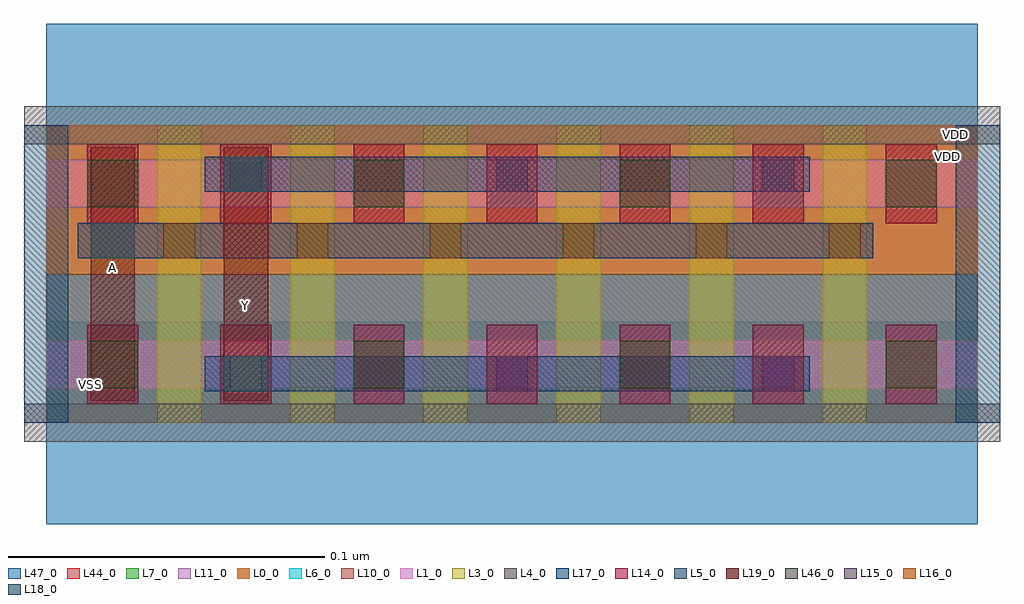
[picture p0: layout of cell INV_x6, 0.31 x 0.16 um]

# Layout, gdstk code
import gdstk
lib = gdstk.Library(unit=1e-6, precision=5e-10)
def R(c, l, rs):  # rectangles x0, y0, x1, y1
    for r in rs: c.add(gdstk.rectangle(r[:2], r[2:], *l))
def A(c, l, x, y, w, h, nx, ny, dx, dy):  # array of equal rectangles
    R(c, l, [(x+i*dx, y+j*dy, x+i*dx+w, y+j*dy+h) for i in range(nx) for j in range(ny)])
L0_0 = (0, 0)
L1_0 = (1, 0)
L3_0 = (3, 0)
L4_0 = (4, 0)
L5_0 = (5, 0)
L6_0 = (6, 0)
L7_0 = (7, 0)
L10_0 = (10, 0)
L11_0 = (11, 0)
L14_0 = (14, 0)
L15_0 = (15, 0)
L16_0 = (16, 0)
L17_0 = (17, 0)
L18_0 = (18, 0)
L19_0 = (19, 0)
L44_0 = (44, 0)
L46_0 = (46, 0)
L47_0 = (47, 0)

inv_x6 = lib.new_cell('INV_x6')
R(inv_x6, L0_0, [(0,0.047,0.294,0.094)])
R(inv_x6, L1_0, [(0,0.011,0.294,0.026), (0,0.068,0.294,0.083)])
A(inv_x6, L3_0, 0.035, 0, 0.014, 0.094, 6, 1, 0.042, 0)
R(inv_x6, L4_0, [(-0.007,-0.006,0.301,0.006), (-0.007,0.088,0.301,0.1)])
R(inv_x6, L5_0, [(-0.007,0,0.007,0.094), (0.287,0,0.301,0.094)])
R(inv_x6, L6_0, [(0,0,0.294,0.047)])
R(inv_x6, L7_0, [(0,0.047,0.294,0.094)])
R(inv_x6, L10_0, [(0,0,0.294,0.047)])
R(inv_x6, L11_0, [(0,0.047,0.294,0.094)])
A(inv_x6, L14_0, 0.013, 0.006, 0.016, 0.025, 7, 2, 0.042, 0.057)
A(inv_x6, L15_0, 0.058, 0.01, 0.01, 0.011, 3, 2, 0.084, 0.063)
A(inv_x6, L16_0, 0.037, 0.052, 0.01, 0.011, 6, 1, 0.042, 0)
R(inv_x6, L17_0, [(0.05,0.01,0.241,0.021), (0.01,0.052,0.261,0.063), (0.05,0.073,0.241,0.084)])
R(inv_x6, L18_0, [(0.056,0.01,0.07,0.021), (0.014,0.052,0.028,0.063), (0.056,0.073,0.07,0.084)])
R(inv_x6, L19_0, [(0.014,0.007,0.028,0.087), (0.056,0.007,0.07,0.087)])
R(inv_x6, L44_0, [(0,0,0.294,0.094)])
A(inv_x6, L46_0, 0.013, 0.011, 0.016, 0.015, 4, 2, 0.084, 0.057)
R(inv_x6, L47_0, [(0,-0.032,0.294,0.032), (0,0.062,0.294,0.126)])
inv_x6.add(gdstk.Label('VSS', (0.014,0.012), layer=47, texttype=2))
inv_x6.add(gdstk.Label('VDD', (0.2845,0.084), layer=47, texttype=2))
inv_x6.add(gdstk.Label('VDD', (0.287,0.091), layer=0, texttype=2))
inv_x6.add(gdstk.Label('Y', (0.063,0.037), layer=19, texttype=2))
inv_x6.add(gdstk.Label('A', (0.021,0.049), layer=19, texttype=2))
inv_x6.add(gdstk.Label('VSS', (0.011,0.008), layer=54, texttype=2))

lib.write_gds('INV_x6.gds')
